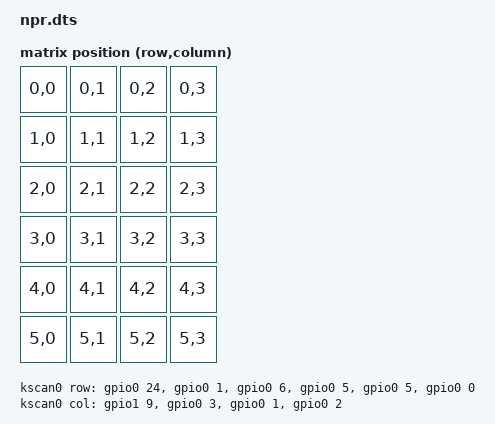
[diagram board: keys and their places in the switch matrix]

/dts-v1/;
#include "npr.dtsi"
#include <layouts/common/numpad/24_key.dtsi>

/ {
    chosen {
        zmk,kscan = &kscan0;
        zmk,physical-layout = &layout_numpad_24_key;
    };

    default_transform: keymap_transform_0 {
        compatible = "zmk,matrix-transform";
        columns = <15>;
        rows = <5>;
        map = <
            RC(0,0) RC(0,1) RC(0,2) RC(0,3)
            RC(1,0) RC(1,1) RC(1,2) RC(1,3)
            RC(2,0) RC(2,1) RC(2,2) RC(2,3)
            RC(3,0) RC(3,1) RC(3,2) RC(3,3)
            RC(4,0) RC(4,1) RC(4,2) RC(4,3)
            RC(5,0) RC(5,1) RC(5,2) RC(5,3)
        >;
    };

    kscan0: kscan_0 {
        compatible = "zmk,kscan-gpio-matrix";
        wakeup-source;

        diode-direction = "col2row";

        col-gpios
            = <&gpio1 9 GPIO_ACTIVE_HIGH>
            , <&gpio0 3 GPIO_ACTIVE_HIGH>
            , <&gpio0 1 GPIO_ACTIVE_HIGH>
            , <&gpio0 2 GPIO_ACTIVE_HIGH>
            /** 
            , <&gpioa 3 GPIO_ACTIVE_HIGH>
            , <&gpionf 1 GPIO_ACTIVE_HIGH>
            , <&gpionf 2 GPIO_ACTIVE_HIGH> 
            **/
            ;

        row-gpios
            = <&gpio0 24 (GPIO_ACTIVE_HIGH | GPIO_PULL_DOWN)>
            , <&gpio0 1 (GPIO_ACTIVE_HIGH | GPIO_PULL_DOWN)>
            , <&gpio0 6 (GPIO_ACTIVE_HIGH | GPIO_PULL_DOWN)>
            , <&gpio0 5 (GPIO_ACTIVE_HIGH | GPIO_PULL_DOWN)>
            , <&gpio0 5 (GPIO_ACTIVE_HIGH | GPIO_PULL_DOWN)>
            , <&gpio0 0 (GPIO_ACTIVE_HIGH | GPIO_PULL_DOWN)>
            /**
            , <&gpioxl 1 (GPIO_ACTIVE_HIGH | GPIO_PULL_DOWN)>
            , <&gpioa 6 (GPIO_ACTIVE_HIGH | GPIO_PULL_DOWN)>
            , <&gpioa 5 (GPIO_ACTIVE_HIGH | GPIO_PULL_DOWN)>
            , <&gpioa 5 (GPIO_ACTIVE_HIGH | GPIO_PULL_DOWN)>
            , <&gpioa 0 (GPIO_ACTIVE_HIGH | GPIO_PULL_DOWN)>
            **/
            ;
    };
};

&layout_numpad_24_key {
    transform = <&default_transform>;
};
